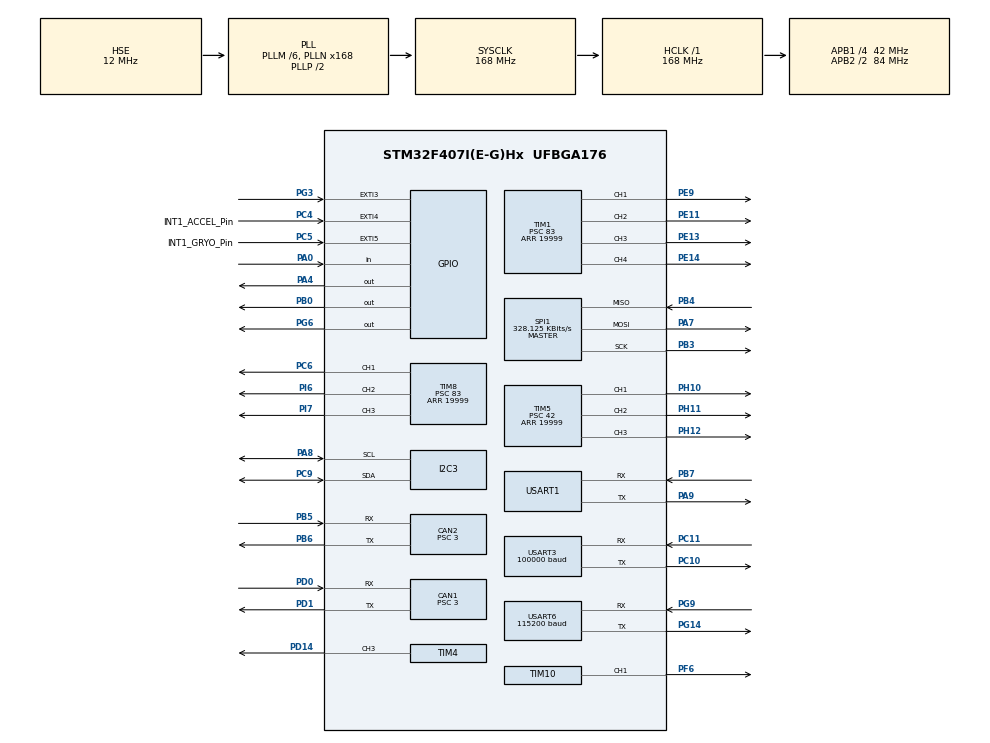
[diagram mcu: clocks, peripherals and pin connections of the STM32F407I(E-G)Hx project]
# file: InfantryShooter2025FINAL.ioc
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CAN1.BS1=CAN_BS1_10TQ
CAN1.BS2=CAN_BS2_3TQ
CAN1.CalculateBaudRate=1000000
CAN1.CalculateTimeBit=1000
CAN1.CalculateTimeQuantum=71.42857142857143
CAN1.Prescaler=3
CAN2.BS1=CAN_BS1_10TQ
CAN2.BS2=CAN_BS2_3TQ
CAN2.CalculateBaudRate=1000000
CAN2.CalculateTimeBit=1000
CAN2.CalculateTimeQuantum=71.42857142857143
CAN2.Prescaler=3
Dma.Request0=USART3_RX
Dma.Request1=USART1_RX
Dma.Request2=USART6_RX
Dma.USART1_RX.1.Direction=DMA_PERIPH_TO_MEMORY
Dma.USART1_RX.1.FIFOMode=DMA_FIFOMODE_DISABLE
Dma.USART1_RX.1.Instance=DMA2_Stream2
Dma.USART1_RX.1.MemDataAlignment=DMA_MDATAALIGN_BYTE
Dma.USART1_RX.1.MemInc=DMA_MINC_ENABLE
Dma.USART1_RX.1.Mode=DMA_NORMAL
Dma.USART1_RX.1.PeriphDataAlignment=DMA_PDATAALIGN_BYTE
Dma.USART1_RX.1.PeriphInc=DMA_PINC_DISABLE
Dma.USART1_RX.1.Priority=DMA_PRIORITY_VERY_HIGH
Dma.USART3_RX.0.Direction=DMA_PERIPH_TO_MEMORY
Dma.USART3_RX.0.FIFOMode=DMA_FIFOMODE_DISABLE
Dma.USART3_RX.0.Instance=DMA1_Stream1
Dma.USART3_RX.0.MemDataAlignment=DMA_MDATAALIGN_BYTE
Dma.USART3_RX.0.MemInc=DMA_MINC_ENABLE
Dma.USART3_RX.0.Mode=DMA_CIRCULAR
Dma.USART3_RX.0.PeriphDataAlignment=DMA_PDATAALIGN_BYTE
Dma.USART3_RX.0.PeriphInc=DMA_PINC_DISABLE
Dma.USART3_RX.0.Priority=DMA_PRIORITY_VERY_HIGH
Dma.USART6_RX.2.Direction=DMA_PERIPH_TO_MEMORY
Dma.USART6_RX.2.FIFOMode=DMA_FIFOMODE_DISABLE
Dma.USART6_RX.2.Instance=DMA2_Stream1
Dma.USART6_RX.2.MemDataAlignment=DMA_MDATAALIGN_BYTE
Dma.USART6_RX.2.MemInc=DMA_MINC_ENABLE
Dma.USART6_RX.2.Mode=DMA_NORMAL
Dma.USART6_RX.2.PeriphDataAlignment=DMA_PDATAALIGN_BYTE
Dma.USART6_RX.2.PeriphInc=DMA_PINC_DISABLE
Dma.USART6_RX.2.Priority=DMA_PRIORITY_VERY_HIGH
FREERTOS.INCLUDE_pcTaskGetTaskName=1
FREERTOS.INCLUDE_xTaskGetHandle=1
FREERTOS.Tasks01=FlowManager,47,1024,StartFlowManager,Default,NULL,Dynamic,NULL,NULL;IMUtempPIDtask,24,512,imu_temp_control_task,As weak,NULL,Dynamic,NULL,NULL;ChassisTask,24,1024,StartChassisTask,Default,NULL,Dynamic,NULL,NULL;SentryAutonomy,24,128,StartSentryAutonomy,Default,NULL,Dynamic,NULL,NULL
FREERTOS.configUSE_NEWLIB_REENTRANT=1
I2C3.I2C_Mode=I2C_Fast
Mcu.Family=STM32F4
Mcu.Name=STM32F407I(E-G)Hx
Mcu.Package=UFBGA176
NVIC.CAN1_RX0_IRQn=true\:5\:0\:false\:false\:true\:true\:true\:true\:true
NVIC.CAN2_RX0_IRQn=true\:5\:0\:false\:false\:true\:true\:true\:true\:true
NVIC.DMA1_Stream1_IRQn=true\:5\:0\:false\:false\:true\:true\:false\:true\:true
NVIC.DMA2_Stream1_IRQn=true\:5\:0\:false\:false\:true\:true\:false\:true\:true
NVIC.DMA2_Stream2_IRQn=true\:5\:0\:false\:false\:true\:true\:false\:true\:true
NVIC.EXTI3_IRQn=true\:5\:0\:false\:false\:true\:true\:true\:true\:true
NVIC.EXTI4_IRQn=true\:5\:0\:false\:false\:true\:true\:true\:true\:true
NVIC.PriorityGroup=NVIC_PRIORITYGROUP_4
NVIC.USART1_IRQn=true\:5\:0\:false\:false\:true\:true\:true\:true\:true
NVIC.USART6_IRQn=true\:5\:0\:false\:false\:true\:true\:true\:true\:true
PA0-WKUP.Signal=GPIO_Input
PA13.Mode=Serial_Wire
PA13.Signal=SYS_JTMS-SWDIO
PA14.Mode=Serial_Wire
PA14.Signal=SYS_JTCK-SWCLK
PA4.Signal=GPIO_Output
PA7.Mode=Full_Duplex_Master
PA7.Signal=SPI1_MOSI
PA8.Mode=I2C
PA8.Signal=I2C3_SCL
PA9.Mode=Asynchronous
PA9.Signal=USART1_TX
PB0.Signal=GPIO_Output
PB3.Mode=Full_Duplex_Master
PB3.Signal=SPI1_SCK
PB4.Mode=Full_Duplex_Master
PB4.Signal=SPI1_MISO
PB5.Mode=CAN_Activate
PB5.Signal=CAN2_RX
PB6.Mode=CAN_Activate
PB6.Signal=CAN2_TX
PB7.Mode=Asynchronous
PB7.Signal=USART1_RX
PC10.Mode=Asynchronous
PC10.Signal=USART3_TX
PC11.Mode=Asynchronous
PC11.Signal=USART3_RX
PC4.GPIO_Label=INT1_ACCEL_Pin
PC4.Signal=GPXTI4
PC5.GPIO_Label=INT1_GRYO_Pin
PC5.Signal=GPXTI5
PC6.Signal=S_TIM8_CH1
PC9.Mode=I2C
PC9.Signal=I2C3_SDA
PD0.Mode=CAN_Activate
PD0.Signal=CAN1_RX
PD1.Mode=CAN_Activate
PD1.Signal=CAN1_TX
PD14.Signal=S_TIM4_CH3
PE11.Signal=S_TIM1_CH2
PE13.Signal=S_TIM1_CH3
PE14.Signal=S_TIM1_CH4
PE9.Signal=S_TIM1_CH1
PF6.GPIO_PuPd=GPIO_PULLUP
PF6.GPIO_Speed=GPIO_SPEED_FREQ_HIGH
PF6.Signal=S_TIM10_CH1
PG14.Mode=Asynchronous
PG14.Signal=USART6_TX
PG3.Signal=GPXTI3
PG6.Signal=GPIO_Output
PG9.Mode=Asynchronous
PG9.Signal=USART6_RX
PH0-OSC_IN.Mode=HSE-External-Oscillator
PH0-OSC_IN.Signal=RCC_OSC_IN
PH1-OSC_OUT.Mode=HSE-External-Oscillator
PH1-OSC_OUT.Signal=RCC_OSC_OUT
PH10.Signal=S_TIM5_CH1
PH11.Signal=S_TIM5_CH2
PH12.Signal=S_TIM5_CH3
PI6.Signal=S_TIM8_CH2
PI7.Signal=S_TIM8_CH3
ProjectManager.HeapSize=0x200
ProjectManager.StackSize=0x400
ProjectManager.TargetToolchain=STM32CubeIDE
RCC.48MHZClocksFreq_Value=84000000
RCC.AHBFreq_Value=168000000
RCC.APB1CLKDivider=RCC_HCLK_DIV4
RCC.APB1Freq_Value=42000000
RCC.APB1TimFreq_Value=84000000
RCC.APB2CLKDivider=RCC_HCLK_DIV2
RCC.APB2Freq_Value=84000000
RCC.APB2TimFreq_Value=168000000
RCC.CortexFreq_Value=168000000
RCC.EnbaleCSS=true
RCC.HCLKFreq_Value=168000000
RCC.HSE_VALUE=12000000
RCC.HSI_VALUE=16000000
RCC.LSE_VALUE=32768
RCC.PLLM=6
RCC.PLLN=168
RCC.PLLSourceVirtual=RCC_PLLSOURCE_HSE
RCC.SYSCLKFreq_VALUE=168000000
RCC.SYSCLKSource=RCC_SYSCLKSOURCE_PLLCLK
RCC.VCOOutputFreq_Value=336000000
SH.S_TIM10_CH1.0=TIM10_CH1,PWM Generation1 CH1
SH.S_TIM1_CH1.0=TIM1_CH1,PWM Generation1 CH1
SH.S_TIM1_CH2.0=TIM1_CH2,PWM Generation2 CH2
SH.S_TIM1_CH3.0=TIM1_CH3,PWM Generation3 CH3
SH.S_TIM1_CH4.0=TIM1_CH4,PWM Generation4 CH4
SH.S_TIM4_CH3.0=TIM4_CH3,PWM Generation3 CH3
SH.S_TIM5_CH1.0=TIM5_CH1,PWM Generation1 CH1
SH.S_TIM5_CH2.0=TIM5_CH2,PWM Generation2 CH2
SH.S_TIM5_CH3.0=TIM5_CH3,PWM Generation3 CH3
SH.S_TIM8_CH1.0=TIM8_CH1,PWM Generation1 CH1
SH.S_TIM8_CH2.0=TIM8_CH2,PWM Generation2 CH2
SH.S_TIM8_CH3.0=TIM8_CH3,PWM Generation3 CH3
SPI1.BaudRatePrescaler=SPI_BAUDRATEPRESCALER_256
SPI1.CLKPhase=SPI_PHASE_2EDGE
SPI1.CLKPolarity=SPI_POLARITY_HIGH
SPI1.CalculateBaudRate=328.125 KBits/s
SPI1.Direction=SPI_DIRECTION_2LINES
SPI1.Mode=SPI_MODE_MASTER
SPI1.VirtualType=VM_MASTER
TIM1.AutoReloadPreload=TIM_AUTORELOAD_PRELOAD_DISABLE
TIM1.Channel-PWM\ Generation1\ CH1=TIM_CHANNEL_1
TIM1.Channel-PWM\ Generation2\ CH2=TIM_CHANNEL_2
TIM1.Channel-PWM\ Generation3\ CH3=TIM_CHANNEL_3
TIM1.Channel-PWM\ Generation4\ CH4=TIM_CHANNEL_4
TIM1.Period=19999
TIM1.Prescaler=83
TIM1.Pulse-PWM\ Generation1\ CH1=0
TIM10.Channel=TIM_CHANNEL_1
TIM10.Period=4999
TIM4.AutoReloadPreload=TIM_AUTORELOAD_PRELOAD_ENABLE
TIM4.Channel-PWM\ Generation3\ CH3=TIM_CHANNEL_3
TIM4.Period=20999
TIM4.Pulse-PWM\ Generation3\ CH3=10499
TIM5.Channel-PWM\ Generation1\ CH1=TIM_CHANNEL_1
TIM5.Channel-PWM\ Generation2\ CH2=TIM_CHANNEL_2
TIM5.Channel-PWM\ Generation3\ CH3=TIM_CHANNEL_3
TIM5.Period=19999
TIM5.Prescaler=42
TIM8.AutoReloadPreload=TIM_AUTORELOAD_PRELOAD_ENABLE
TIM8.Channel-PWM\ Generation1\ CH1=TIM_CHANNEL_1
TIM8.Channel-PWM\ Generation2\ CH2=TIM_CHANNEL_2
TIM8.Channel-PWM\ Generation3\ CH3=TIM_CHANNEL_3
TIM8.Period=19999
TIM8.Prescaler=83
USART1.VirtualMode=VM_ASYNC
USART3.BaudRate=100000
USART3.Parity=PARITY_EVEN
USART3.VirtualMode=VM_ASYNC
USART6.BaudRate=115200
USART6.VirtualMode=VM_ASYNC
VP_FREERTOS_VS_CMSIS_V2.Mode=CMSIS_V2
VP_TIM10_VS_ClockSourceINT.Mode=Enable_Timer
VP_TIM4_VS_ClockSourceINT.Mode=Internal
board=custom

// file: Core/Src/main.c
/* USER CODE BEGIN Header */
/**
  ******************************************************************************
  * @file           : main.c
  * @brief          : Main program body
  ******************************************************************************
  * @attention
  *
  * Copyright (c) 2025 STMicroelectronics.
  * All rights reserved.
  *
  * This software is licensed under terms that can be found in the LICENSE file
  * in the root directory of this software component.
  * If no LICENSE file comes with this software, it is provided AS-IS.
  *
  ******************************************************************************
  */
/* USER CODE END Header */
#include "main.h"
#include "cmsis_os.h"

/* USER CODE BEGIN Includes */
#include "UART_RM25.h"
#include "DBUS.h"
// #include "CC_Handler.h"
#include "CAN.h"
#include "CAL_RM25.h"
#include "custom_math.h"

#include "BMI088driver.h"
#include "BMI088Middleware.h"
#include "BMI088reg.h"
/* USER CODE END Includes */

CAN_HandleTypeDef hcan1;
CAN_HandleTypeDef hcan2;

I2C_HandleTypeDef hi2c3;

SPI_HandleTypeDef hspi1;

TIM_HandleTypeDef htim1;
TIM_HandleTypeDef htim4;
TIM_HandleTypeDef htim5;
TIM_HandleTypeDef htim8;
TIM_HandleTypeDef htim10;

UART_HandleTypeDef huart1;
UART_HandleTypeDef huart3;
UART_HandleTypeDef huart6;
DMA_HandleTypeDef hdma_usart1_rx;
DMA_HandleTypeDef hdma_usart3_rx;
DMA_HandleTypeDef hdma_usart6_rx;

/* Definitions for FlowManager */
osThreadId_t FlowManagerHandle;
const osThreadAttr_t FlowManager_attributes = {
  .name = "FlowManager",
  .stack_size = 1024 * 4,
  .priority = (osPriority_t) osPriorityHigh7,
};
/* Definitions for IMUtempPIDtask */
osThreadId_t IMUtempPIDtaskHandle;
const osThreadAttr_t IMUtempPIDtask_attributes = {
  .name = "IMUtempPIDtask",
  .stack_size = 512 * 4,
  .priority = (osPriority_t) osPriorityNormal,
};
/* Definitions for ChassisTask */
osThreadId_t ChassisTaskHandle;
const osThreadAttr_t ChassisTask_attributes = {
  .name = "ChassisTask",
  .stack_size = 1024 * 4,
  .priority = (osPriority_t) osPriorityNormal,
};
/* Definitions for SentryAutonomy */
osThreadId_t SentryAutonomyHandle;
const osThreadAttr_t SentryAutonomy_attributes = {
  .name = "SentryAutonomy",
  .stack_size = 128 * 4,
  .priority = (osPriority_t) osPriorityNormal,
};

void SystemClock_Config(void);
static void MX_GPIO_Init(void);
static void MX_DMA_Init(void);
static void MX_CAN1_Init(void);
static void MX_CAN2_Init(void);
static void MX_SPI1_Init(void);
static void MX_TIM4_Init(void);
static void MX_USART1_UART_Init(void);
static void MX_USART6_UART_Init(void);
static void MX_TIM1_Init(void);
static void MX_TIM8_Init(void);
static void MX_USART3_UART_Init(void);
static void MX_TIM10_Init(void);
static void MX_I2C3_Init(void);
static void MX_TIM5_Init(void);
void StartFlowManager(void *argument);
void imu_temp_control_task(void *argument);
void StartChassisTask(void *argument);
void StartSentryAutonomy(void *argument);

int main(void)
{

  /* MCU Configuration--------------------------------------------------------*/

  /* Reset of all peripherals, Initializes the Flash interface and the Systick. */
  HAL_Init();

  /* Configure the system clock */
  SystemClock_Config();

  /* Initialize all configured peripherals */
  MX_GPIO_Init();
  MX_DMA_Init();
  MX_CAN1_Init();
  MX_CAN2_Init();
  MX_SPI1_Init();
  MX_TIM4_Init();
  MX_USART1_UART_Init();
  MX_USART6_UART_Init();
  MX_TIM1_Init();
  MX_TIM8_Init();
  MX_USART3_UART_Init();
  MX_TIM10_Init();
  MX_I2C3_Init();
  MX_TIM5_Init();

  /* Init scheduler */
  osKernelInitialize();

  /* Create the thread(s) */
  /* creation of FlowManager */
  FlowManagerHandle = osThreadNew(StartFlowManager, NULL, &FlowManager_attributes);

  /* creation of IMUtempPIDtask */
  IMUtempPIDtaskHandle = osThreadNew(imu_temp_control_task, NULL, &IMUtempPIDtask_attributes);

  /* creation of ChassisTask */
  ChassisTaskHandle = osThreadNew(StartChassisTask, NULL, &ChassisTask_attributes);

  /* creation of SentryAutonomy */
  SentryAutonomyHandle = osThreadNew(StartSentryAutonomy, NULL, &SentryAutonomy_attributes);

  /* Start scheduler */
  osKernelStart();

  /* We should never get here as control is now taken by the scheduler */

  /* Infinite loop */
  while (1)
  {

  }
}

void SystemClock_Config(void)
{
  RCC_OscInitTypeDef RCC_OscInitStruct = {0};
  RCC_ClkInitTypeDef RCC_ClkInitStruct = {0};

  /** Configure the main internal regulator output voltage
  */
  __HAL_RCC_PWR_CLK_ENABLE();
  __HAL_PWR_VOLTAGESCALING_CONFIG(PWR_REGULATOR_VOLTAGE_SCALE1);

  /** Initializes the RCC Oscillators according to the specified parameters
  * in the RCC_OscInitTypeDef structure.
  */
  RCC_OscInitStruct.OscillatorType = RCC_OSCILLATORTYPE_HSE;
  RCC_OscInitStruct.HSEState = RCC_HSE_ON;
  RCC_OscInitStruct.PLL.PLLState = RCC_PLL_ON;
  RCC_OscInitStruct.PLL.PLLSource = RCC_PLLSOURCE_HSE;
  RCC_OscInitStruct.PLL.PLLM = 6;
  RCC_OscInitStruct.PLL.PLLN = 168;
  RCC_OscInitStruct.PLL.PLLP = RCC_PLLP_DIV2;
  RCC_OscInitStruct.PLL.PLLQ = 4;
  if (HAL_RCC_OscConfig(&RCC_OscInitStruct) != HAL_OK)
  {
    Error_Handler();
  }

  /** Initializes the CPU, AHB and APB buses clocks
  */
  RCC_ClkInitStruct.ClockType = RCC_CLOCKTYPE_HCLK|RCC_CLOCKTYPE_SYSCLK
                              |RCC_CLOCKTYPE_PCLK1|RCC_CLOCKTYPE_PCLK2;
  RCC_ClkInitStruct.SYSCLKSource = RCC_SYSCLKSOURCE_PLLCLK;
  RCC_ClkInitStruct.AHBCLKDivider = RCC_SYSCLK_DIV1;
  RCC_ClkInitStruct.APB1CLKDivider = RCC_HCLK_DIV4;
  RCC_ClkInitStruct.APB2CLKDivider = RCC_HCLK_DIV2;

  if (HAL_RCC_ClockConfig(&RCC_ClkInitStruct, FLASH_LATENCY_5) != HAL_OK)
  {
    Error_Handler();
  }

  /** Enables the Clock Security System
  */
  HAL_RCC_EnableCSS();
}

static void MX_CAN1_Init(void)
{

  hcan1.Instance = CAN1;
  hcan1.Init.Prescaler = 3;
  hcan1.Init.Mode = CAN_MODE_NORMAL;
  hcan1.Init.SyncJumpWidth = CAN_SJW_1TQ;
  hcan1.Init.TimeSeg1 = CAN_BS1_10TQ;
  hcan1.Init.TimeSeg2 = CAN_BS2_3TQ;
  hcan1.Init.TimeTriggeredMode = DISABLE;
  hcan1.Init.AutoBusOff = DISABLE;
  hcan1.Init.AutoWakeUp = DISABLE;
  hcan1.Init.AutoRetransmission = DISABLE;
  hcan1.Init.ReceiveFifoLocked = DISABLE;
  hcan1.Init.TransmitFifoPriority = DISABLE;
  if (HAL_CAN_Init(&hcan1) != HAL_OK)
  {
    Error_Handler();
  }

}

static void MX_CAN2_Init(void)
{

  hcan2.Instance = CAN2;
  hcan2.Init.Prescaler = 3;
  hcan2.Init.Mode = CAN_MODE_NORMAL;
  hcan2.Init.SyncJumpWidth = CAN_SJW_1TQ;
  hcan2.Init.TimeSeg1 = CAN_BS1_10TQ;
  hcan2.Init.TimeSeg2 = CAN_BS2_3TQ;
  hcan2.Init.TimeTriggeredMode = DISABLE;
  hcan2.Init.AutoBusOff = DISABLE;
  hcan2.Init.AutoWakeUp = DISABLE;
  hcan2.Init.AutoRetransmission = DISABLE;
  hcan2.Init.ReceiveFifoLocked = DISABLE;
  hcan2.Init.TransmitFifoPriority = DISABLE;
  if (HAL_CAN_Init(&hcan2) != HAL_OK)
  {
    Error_Handler();
  }

}

static void MX_I2C3_Init(void)
{

  hi2c3.Instance = I2C3;
  hi2c3.Init.ClockSpeed = 400000;
  hi2c3.Init.DutyCycle = I2C_DUTYCYCLE_2;
  hi2c3.Init.OwnAddress1 = 0;
  hi2c3.Init.AddressingMode = I2C_ADDRESSINGMODE_7BIT;
  hi2c3.Init.DualAddressMode = I2C_DUALADDRESS_DISABLE;
  hi2c3.Init.OwnAddress2 = 0;
  hi2c3.Init.GeneralCallMode = I2C_GENERALCALL_DISABLE;
  hi2c3.Init.NoStretchMode = I2C_NOSTRETCH_DISABLE;
  if (HAL_I2C_Init(&hi2c3) != HAL_OK)
  {
    Error_Handler();
  }

}

static void MX_SPI1_Init(void)
{

  /* SPI1 parameter configuration*/
  hspi1.Instance = SPI1;
  hspi1.Init.Mode = SPI_MODE_MASTER;
  hspi1.Init.Direction = SPI_DIRECTION_2LINES;
  hspi1.Init.DataSize = SPI_DATASIZE_8BIT;
  hspi1.Init.CLKPolarity = SPI_POLARITY_HIGH;
  hspi1.Init.CLKPhase = SPI_PHASE_2EDGE;
  hspi1.Init.NSS = SPI_NSS_SOFT;
  hspi1.Init.BaudRatePrescaler = SPI_BAUDRATEPRESCALER_256;
  hspi1.Init.FirstBit = SPI_FIRSTBIT_MSB;
  hspi1.Init.TIMode = SPI_TIMODE_DISABLE;
  hspi1.Init.CRCCalculation = SPI_CRCCALCULATION_DISABLE;
  hspi1.Init.CRCPolynomial = 10;
  if (HAL_SPI_Init(&hspi1) != HAL_OK)
  {
    Error_Handler();
  }

}

static void MX_TIM1_Init(void)
{

  TIM_MasterConfigTypeDef sMasterConfig = {0};
  TIM_OC_InitTypeDef sConfigOC = {0};
  TIM_BreakDeadTimeConfigTypeDef sBreakDeadTimeConfig = {0};

  htim1.Instance = TIM1;
  htim1.Init.Prescaler = 83;
  htim1.Init.CounterMode = TIM_COUNTERMODE_UP;
  htim1.Init.Period = 19999;
  htim1.Init.ClockDivision = TIM_CLOCKDIVISION_DIV1;
  htim1.Init.RepetitionCounter = 0;
  htim1.Init.AutoReloadPreload = TIM_AUTORELOAD_PRELOAD_DISABLE;
  if (HAL_TIM_PWM_Init(&htim1) != HAL_OK)
  {
    Error_Handler();
  }
  sMasterConfig.MasterOutputTrigger = TIM_TRGO_RESET;
  sMasterConfig.MasterSlaveMode = TIM_MASTERSLAVEMODE_DISABLE;
  if (HAL_TIMEx_MasterConfigSynchronization(&htim1, &sMasterConfig) != HAL_OK)
  {
    Error_Handler();
  }
  sConfigOC.OCMode = TIM_OCMODE_PWM1;
  sConfigOC.Pulse = 0;
  sConfigOC.OCPolarity = TIM_OCPOLARITY_HIGH;
  sConfigOC.OCNPolarity = TIM_OCNPOLARITY_HIGH;
  sConfigOC.OCFastMode = TIM_OCFAST_DISABLE;
  sConfigOC.OCIdleState = TIM_OCIDLESTATE_RESET;
  sConfigOC.OCNIdleState = TIM_OCNIDLESTATE_RESET;
  if (HAL_TIM_PWM_ConfigChannel(&htim1, &sConfigOC, TIM_CHANNEL_1) != HAL_OK)
  {
    Error_Handler();
  }
  if (HAL_TIM_PWM_ConfigChannel(&htim1, &sConfigOC, TIM_CHANNEL_2) != HAL_OK)
  {
    Error_Handler();
  }
  if (HAL_TIM_PWM_ConfigChannel(&htim1, &sConfigOC, TIM_CHANNEL_3) != HAL_OK)
  {
    Error_Handler();
  }
  if (HAL_TIM_PWM_ConfigChannel(&htim1, &sConfigOC, TIM_CHANNEL_4) != HAL_OK)
  {
    Error_Handler();
  }
  sBreakDeadTimeConfig.OffStateRunMode = TIM_OSSR_DISABLE;
  sBreakDeadTimeConfig.OffStateIDLEMode = TIM_OSSI_DISABLE;
  sBreakDeadTimeConfig.LockLevel = TIM_LOCKLEVEL_OFF;
  sBreakDeadTimeConfig.DeadTime = 0;
  sBreakDeadTimeConfig.BreakState = TIM_BREAK_DISABLE;
  sBreakDeadTimeConfig.BreakPolarity = TIM_BREAKPOLARITY_HIGH;
  sBreakDeadTimeConfig.AutomaticOutput = TIM_AUTOMATICOUTPUT_DISABLE;
  if (HAL_TIMEx_ConfigBreakDeadTime(&htim1, &sBreakDeadTimeConfig) != HAL_OK)
  {
    Error_Handler();
  }
  HAL_TIM_MspPostInit(&htim1);

}

static void MX_TIM4_Init(void)
{

  TIM_ClockConfigTypeDef sClockSourceConfig = {0};
  TIM_MasterConfigTypeDef sMasterConfig = {0};
  TIM_OC_InitTypeDef sConfigOC = {0};

  htim4.Instance = TIM4;
  htim4.Init.Prescaler = 0;
  htim4.Init.CounterMode = TIM_COUNTERMODE_UP;
  htim4.Init.Period = 20999;
  htim4.Init.ClockDivision = TIM_CLOCKDIVISION_DIV1;
  htim4.Init.AutoReloadPreload = TIM_AUTORELOAD_PRELOAD_ENABLE;
  if (HAL_TIM_Base_Init(&htim4) != HAL_OK)
  {
    Error_Handler();
  }
  sClockSourceConfig.ClockSource = TIM_CLOCKSOURCE_INTERNAL;
  if (HAL_TIM_ConfigClockSource(&htim4, &sClockSourceConfig) != HAL_OK)
  {
    Error_Handler();
  }
  if (HAL_TIM_PWM_Init(&htim4) != HAL_OK)
  {
    Error_Handler();
  }
  sMasterConfig.MasterOutputTrigger = TIM_TRGO_RESET;
  sMasterConfig.MasterSlaveMode = TIM_MASTERSLAVEMODE_DISABLE;
  if (HAL_TIMEx_MasterConfigSynchronization(&htim4, &sMasterConfig) != HAL_OK)
  {
    Error_Handler();
  }
  sConfigOC.OCMode = TIM_OCMODE_PWM1;
  sConfigOC.Pulse = 10499;
  sConfigOC.OCPolarity = TIM_OCPOLARITY_HIGH;
  sConfigOC.OCFastMode = TIM_OCFAST_DISABLE;
  if (HAL_TIM_PWM_ConfigChannel(&htim4, &sConfigOC, TIM_CHANNEL_3) != HAL_OK)
  {
    Error_Handler();
  }
  HAL_TIM_MspPostInit(&htim4);

}

static void MX_TIM5_Init(void)
{

  TIM_MasterConfigTypeDef sMasterConfig = {0};
  TIM_OC_InitTypeDef sConfigOC = {0};

  htim5.Instance = TIM5;
  htim5.Init.Prescaler = 42;
  htim5.Init.CounterMode = TIM_COUNTERMODE_UP;
  htim5.Init.Period = 19999;
  htim5.Init.ClockDivision = TIM_CLOCKDIVISION_DIV1;
  htim5.Init.AutoReloadPreload = TIM_AUTORELOAD_PRELOAD_DISABLE;
  if (HAL_TIM_PWM_Init(&htim5) != HAL_OK)
  {
    Error_Handler();
  }
  sMasterConfig.MasterOutputTrigger = TIM_TRGO_RESET;
  sMasterConfig.MasterSlaveMode = TIM_MASTERSLAVEMODE_DISABLE;
  if (HAL_TIMEx_MasterConfigSynchronization(&htim5, &sMasterConfig) != HAL_OK)
  {
    Error_Handler();
  }
  sConfigOC.OCMode = TIM_OCMODE_PWM1;
  sConfigOC.Pulse = 0;
  sConfigOC.OCPolarity = TIM_OCPOLARITY_HIGH;
  sConfigOC.OCFastMode = TIM_OCFAST_DISABLE;
  if (HAL_TIM_PWM_ConfigChannel(&htim5, &sConfigOC, TIM_CHANNEL_1) != HAL_OK)
  {
    Error_Handler();
  }
  if (HAL_TIM_PWM_ConfigChannel(&htim5, &sConfigOC, TIM_CHANNEL_2) != HAL_OK)
  {
    Error_Handler();
  }
  if (HAL_TIM_PWM_ConfigChannel(&htim5, &sConfigOC, TIM_CHANNEL_3) != HAL_OK)
  {
    Error_Handler();
  }
  HAL_TIM_MspPostInit(&htim5);

}

static void MX_TIM8_Init(void)
{

  TIM_MasterConfigTypeDef sMasterConfig = {0};
  TIM_OC_InitTypeDef sConfigOC = {0};
  TIM_BreakDeadTimeConfigTypeDef sBreakDeadTimeConfig = {0};

  htim8.Instance = TIM8;
  htim8.Init.Prescaler = 83;
  htim8.Init.CounterMode = TIM_COUNTERMODE_UP;
  htim8.Init.Period = 19999;
  htim8.Init.ClockDivision = TIM_CLOCKDIVISION_DIV1;
  htim8.Init.RepetitionCounter = 0;
  htim8.Init.AutoReloadPreload = TIM_AUTORELOAD_PRELOAD_ENABLE;
  if (HAL_TIM_PWM_Init(&htim8) != HAL_OK)
  {
    Error_Handler();
  }
  sMasterConfig.MasterOutputTrigger = TIM_TRGO_RESET;
  sMasterConfig.MasterSlaveMode = TIM_MASTERSLAVEMODE_DISABLE;
  if (HAL_TIMEx_MasterConfigSynchronization(&htim8, &sMasterConfig) != HAL_OK)
  {
    Error_Handler();
  }
  sConfigOC.OCMode = TIM_OCMODE_PWM1;
  sConfigOC.Pulse = 0;
  sConfigOC.OCPolarity = TIM_OCPOLARITY_HIGH;
  sConfigOC.OCNPolarity = TIM_OCNPOLARITY_HIGH;
  sConfigOC.OCFastMode = TIM_OCFAST_DISABLE;
  sConfigOC.OCIdleState = TIM_OCIDLESTATE_RESET;
  sConfigOC.OCNIdleState = TIM_OCNIDLESTATE_RESET;
  if (HAL_TIM_PWM_ConfigChannel(&htim8, &sConfigOC, TIM_CHANNEL_1) != HAL_OK)
  {
    Error_Handler();
  }
  if (HAL_TIM_PWM_ConfigChannel(&htim8, &sConfigOC, TIM_CHANNEL_2) != HAL_OK)
  {
    Error_Handler();
  }
  if (HAL_TIM_PWM_ConfigChannel(&htim8, &sConfigOC, TIM_CHANNEL_3) != HAL_OK)
  {
    Error_Handler();
  }
  sBreakDeadTimeConfig.OffStateRunMode = TIM_OSSR_DISABLE;
  sBreakDeadTimeConfig.OffStateIDLEMode = TIM_OSSI_DISABLE;
  sBreakDeadTimeConfig.LockLevel = TIM_LOCKLEVEL_OFF;
  sBreakDeadTimeConfig.DeadTime = 0;
  sBreakDeadTimeConfig.BreakState = TIM_BREAK_DISABLE;
  sBreakDeadTimeConfig.BreakPolarity = TIM_BREAKPOLARITY_HIGH;
  sBreakDeadTimeConfig.AutomaticOutput = TIM_AUTOMATICOUTPUT_DISABLE;
  if (HAL_TIMEx_ConfigBreakDeadTime(&htim8, &sBreakDeadTimeConfig) != HAL_OK)
  {
    Error_Handler();
  }
  HAL_TIM_MspPostInit(&htim8);

}

static void MX_TIM10_Init(void)
{

  TIM_OC_InitTypeDef sConfigOC = {0};

  htim10.Instance = TIM10;
  htim10.Init.Prescaler = 0;
  htim10.Init.CounterMode = TIM_COUNTERMODE_UP;
  htim10.Init.Period = 4999;
  htim10.Init.ClockDivision = TIM_CLOCKDIVISION_DIV1;
  htim10.Init.AutoReloadPreload = TIM_AUTORELOAD_PRELOAD_DISABLE;
  if (HAL_TIM_Base_Init(&htim10) != HAL_OK)
  {
    Error_Handler();
  }
  if (HAL_TIM_PWM_Init(&htim10) != HAL_OK)
  {
    Error_Handler();
  }
  sConfigOC.OCMode = TIM_OCMODE_PWM1;
  sConfigOC.Pulse = 0;
  sConfigOC.OCPolarity = TIM_OCPOLARITY_HIGH;
  sConfigOC.OCFastMode = TIM_OCFAST_DISABLE;
  if (HAL_TIM_PWM_ConfigChannel(&htim10, &sConfigOC, TIM_CHANNEL_1) != HAL_OK)
  {
    Error_Handler();
  }
  HAL_TIM_MspPostInit(&htim10);

}

static void MX_USART1_UART_Init(void)
{

  huart1.Instance = USART1;
  huart1.Init.BaudRate = 115200;
  huart1.Init.WordLength = UART_WORDLENGTH_8B;
  huart1.Init.StopBits = UART_STOPBITS_1;
  huart1.Init.Parity = UART_PARITY_NONE;
  huart1.Init.Mode = UART_MODE_TX_RX;
  huart1.Init.HwFlowCtl = UART_HWCONTROL_NONE;
  huart1.Init.OverSampling = UART_OVERSAMPLING_16;
  if (HAL_UART_Init(&huart1) != HAL_OK)
  {
    Error_Handler();
  }

}

static void MX_USART3_UART_Init(void)
{

  huart3.Instance = USART3;
  huart3.Init.BaudRate = 100000;
  huart3.Init.WordLength = UART_WORDLENGTH_8B;
  huart3.Init.StopBits = UART_STOPBITS_1;
  huart3.Init.Parity = UART_PARITY_EVEN;
  huart3.Init.Mode = UART_MODE_TX_RX;
  huart3.Init.HwFlowCtl = UART_HWCONTROL_NONE;
  huart3.Init.OverSampling = UART_OVERSAMPLING_16;
  if (HAL_UART_Init(&huart3) != HAL_OK)
  {
    Error_Handler();
  }

}

static void MX_USART6_UART_Init(void)
{

  huart6.Instance = USART6;
  huart6.Init.BaudRate = 115200;
  huart6.Init.WordLength = UART_WORDLENGTH_8B;
  huart6.Init.StopBits = UART_STOPBITS_1;
  huart6.Init.Parity = UART_PARITY_NONE;
  huart6.Init.Mode = UART_MODE_TX_RX;
  huart6.Init.HwFlowCtl = UART_HWCONTROL_NONE;
  huart6.Init.OverSampling = UART_OVERSAMPLING_16;
  if (HAL_UART_Init(&huart6) != HAL_OK)
  {
    Error_Handler();
  }

}

static void MX_DMA_Init(void)
{

  /* DMA controller clock enable */
  __HAL_RCC_DMA1_CLK_ENABLE();
  __HAL_RCC_DMA2_CLK_ENABLE();

  /* DMA interrupt init */
  /* DMA1_Stream1_IRQn interrupt configuration */
  HAL_NVIC_SetPriority(DMA1_Stream1_IRQn, 5, 0);
  HAL_NVIC_EnableIRQ(DMA1_Stream1_IRQn);
  /* DMA2_Stream1_IRQn interrupt configuration */
  HAL_NVIC_SetPriority(DMA2_Stream1_IRQn, 5, 0);
  HAL_NVIC_EnableIRQ(DMA2_Stream1_IRQn);
  /* DMA2_Stream2_IRQn interrupt configuration */
  HAL_NVIC_SetPriority(DMA2_Stream2_IRQn, 5, 0);
  HAL_NVIC_EnableIRQ(DMA2_Stream2_IRQn);

}

static void MX_GPIO_Init(void)
{
  GPIO_InitTypeDef GPIO_InitStruct = {0};

  /* GPIO Ports Clock Enable */
  __HAL_RCC_GPIOB_CLK_ENABLE();
  __HAL_RCC_GPIOG_CLK_ENABLE();
  __HAL_RCC_GPIOA_CLK_ENABLE();
  __HAL_RCC_GPIOD_CLK_ENABLE();
  __HAL_RCC_GPIOC_CLK_ENABLE();
  __HAL_RCC_GPIOI_CLK_ENABLE();
  __HAL_RCC_GPIOH_CLK_ENABLE();
  __HAL_RCC_GPIOF_CLK_ENABLE();
  __HAL_RCC_GPIOE_CLK_ENABLE();

  /*Configure GPIO pin Output Level */
  HAL_GPIO_WritePin(GPIOG, GPIO_PIN_6, GPIO_PIN_RESET);

  /*Configure GPIO pin Output Level */
  HAL_GPIO_WritePin(GPIOA, GPIO_PIN_4, GPIO_PIN_RESET);

  /*Configure GPIO pin Output Level */
  HAL_GPIO_WritePin(GPIOB, GPIO_PIN_0, GPIO_PIN_RESET);

  /*Configure GPIO pin : PG6 */
  GPIO_InitStruct.Pin = GPIO_PIN_6;
  GPIO_InitStruct.Mode = GPIO_MODE_OUTPUT_PP;
  GPIO_InitStruct.Pull = GPIO_NOPULL;
  GPIO_InitStruct.Speed = GPIO_SPEED_FREQ_LOW;
  HAL_GPIO_Init(GPIOG, &GPIO_InitStruct);

  /*Configure GPIO pin : PG3 */
  GPIO_InitStruct.Pin = GPIO_PIN_3;
  GPIO_InitStruct.Mode = GPIO_MODE_IT_RISING;
  GPIO_InitStruct.Pull = GPIO_NOPULL;
  HAL_GPIO_Init(GPIOG, &GPIO_InitStruct);

  /*Configure GPIO pin : PA0 */
  GPIO_InitStruct.Pin = GPIO_PIN_0;
  GPIO_InitStruct.Mode = GPIO_MODE_INPUT;
  GPIO_InitStruct.Pull = GPIO_NOPULL;
  HAL_GPIO_Init(GPIOA, &GPIO_InitStruct);

  /*Configure GPIO pin : PA4 */
  GPIO_InitStruct.Pin = GPIO_PIN_4;
  GPIO_InitStruct.Mode = GPIO_MODE_OUTPUT_PP;
  GPIO_InitStruct.Pull = GPIO_NOPULL;
  GPIO_InitStruct.Speed = GPIO_SPEED_FREQ_LOW;
  HAL_GPIO_Init(GPIOA, &GPIO_InitStruct);

  /*Configure GPIO pins : INT1_ACCEL_Pin_Pin INT1_GRYO_Pin_Pin */
  GPIO_InitStruct.Pin = INT1_ACCEL_Pin_Pin|INT1_GRYO_Pin_Pin;
  GPIO_InitStruct.Mode = GPIO_MODE_IT_RISING;
  GPIO_InitStruct.Pull = GPIO_NOPULL;
  HAL_GPIO_Init(GPIOC, &GPIO_InitStruct);

  /*Configure GPIO pin : PB0 */
  GPIO_InitStruct.Pin = GPIO_PIN_0;
  GPIO_InitStruct.Mode = GPIO_MODE_OUTPUT_PP;
  GPIO_InitStruct.Pull = GPIO_NOPULL;
  GPIO_InitStruct.Speed = GPIO_SPEED_FREQ_LOW;
  HAL_GPIO_Init(GPIOB, &GPIO_InitStruct);

  /* EXTI interrupt init*/
  HAL_NVIC_SetPriority(EXTI3_IRQn, 5, 0);
  HAL_NVIC_EnableIRQ(EXTI3_IRQn);

  HAL_NVIC_SetPriority(EXTI4_IRQn, 5, 0);
  HAL_NVIC_EnableIRQ(EXTI4_IRQn);

}

void StartFlowManager(void *argument)
{
  /* USER CODE BEGIN 5 */
	uint8_t iCount = 0;

	DBUS_Rx_Init(&huart3);

	UART_Ex_Init(&huart1);
	UART_Ex_Init(&huart6);
	CAN_Init();
	BMI088_gyro_init();
	uint8_t txData[8] = {1, 2, 3, 4, 5, 6, 7, 8};
  /* Infinite loop */
  for(;;)
  {
	  DBUS_Update();
	  if(iCount%3==0){
		  CAL_Update();
	  }
	  // CAL_SendChassisCommands(CAL_getCH1(),CAL_getCH0(),CAL_getCH2(),getDR16_CH4(),IMU_get_gyro(2),1,2);
	  // CAN_transmit(Bus1,0x214,txData);
	  //UART_Printf(&huart6,"DBUS Check: %d %d \n", getDR16_W(),getCC_W());
	  //UART_Printfmt(&huart6,"%d \n",getDR16_CH1());

	  if(iCount<255){
		  iCount++;
	  }else{
		  iCount = 0;
	  }
	  osDelay(1);
  }
  /* USER CODE END 5 */
}

__weak void imu_temp_control_task(void *argument)
{
  for(;;)
  {
    osDelay(1);
  }
}

void StartChassisTask(void *argument)
{
  /* USER CODE BEGIN StartChassisTask */
	PID_preset_t pitchBoi = {20.0, 0.0, 150.0};
	PID_preset_t turretRotation = {110.0, 0.0, 15.0};
	PID_preset_t indexer = {30.0, 0.0, 0.0};
	PID_preset_t indexer2 = {8.0, 0.0, 0.0};
	PID_preset_t flywheels = {7.0, 0.0, 0.0};

	float incrementalToGoVal = 6700;
	uint16_t speed = 7500;

	uint8_t lastMouseZ = 0;
	const int16_t S2W_SCALER = 60;
	int16_t s2wSpeed = 0;
	int16_t chassisSpin = 0;

	float targetTurretAng = 0;
	float currentTurretAng = 0;

	uint8_t fondlerState = 0;
	uint8_t spinupCounter = 0;
	uint8_t rewindCounter = 0;
	uint8_t cooldownCounter = 0;
	//
	int8_t fondlerVars[5] = {0, 0, 0, 0, 0};
  /* Infinite loop */
  for(;;)
  {
	  CAL_SendChassisCommands(CAL_getCH1(),CAL_getCH0(),chassisSpin,(int16_t)((float)(getRotorPosition(Bus1, GM6020, 5))*0.5f),IMU_get_gyro(2),1,2);
	  // UART_Printf(&huart1, "%d\r\n", getRotorPosition(Bus2, GM6020, 7));

	  int16_t currentPos = CAL_getCH3()*3;

	  incrementalToGoVal -= ((float)(currentPos)*0.025);
	  if (incrementalToGoVal > 7200.0) {
		  incrementalToGoVal = 7200.0;
	  } else if (incrementalToGoVal < 5800.0) {
		  incrementalToGoVal = 5800.0;
	  }
	  // UART_Printf(&huart1, "%d %d\r\n", getRotorPosition(Bus2, GM6020, 7), incrementalToGoVal);
	  setMotorPosition(Bus2, GM6020, 7, (int16_t)incrementalToGoVal, pitchBoi);

	  /*
	  uint16_t togoVal = currentPos*0.8f + 5850;
	  setMotorPosition(Bus2, GM6020, 7, togoVal, pitchBoi);
	  */

	  uint8_t mouseZ = CAL_getMouseZ();
	  if(mouseZ==2&&lastMouseZ==0){
		  if(S2W_SCALER*s2wSpeed<300){
		  s2wSpeed++;
		  }
	  }else if(mouseZ==1&&lastMouseZ==0){
		  if(S2W_SCALER*s2wSpeed>-300)
		  s2wSpeed--;
	  }
	  lastMouseZ = mouseZ;

	  chassisSpin = S2W_SCALER*s2wSpeed-CAL_getCH4();
	  if(chassisSpin>460){
		  chassisSpin = 460;
	  }else if(chassisSpin<-460){
		  chassisSpin = -460;
	  }

	  float targetTurretAngVel = (float)CAL_getCH2()*0.006;

	  targetTurretAng -= targetTurretAngVel;
	  if(targetTurretAng<0){
		  targetTurretAng = 360.0-targetTurretAng;
	  }else if(targetTurretAng>360.0){
		  targetTurretAng = targetTurretAng-360.0;
	  }

	  //find current angular velocity in degrees/iteration (i think) (iknow now)
	  float currentTurretAngVel = IMU_get_gyro(2)*90.0/262.9639380722;

	  //find current angle also standard math in degrees
	  if(currentTurretAngVel>0.005||currentTurretAngVel<-0.005){//filter out noise from gyro
		  currentTurretAng = currentTurretAng + currentTurretAngVel; //proportional to ang position, not
		  if(currentTurretAng<0.0){
			  currentTurretAng = 360.0-currentTurretAng;
		  }else if(currentTurretAng>360.0){
			  currentTurretAng = currentTurretAng-360.0;
		  }
	  }

	  // UART_Printf(&huart1," %f %f\n",IMU_get_gyro(2),currentTurretAng);
	  setMotorRPM(Bus1,GM6020,5,-240*(currentTurretAngVel+1.0*targetTurretAngVel)+12*angSmallestDiff(targetTurretAng, currentTurretAng), turretRotation);

	  // setMotorRPM(Bus1, GM6020, 5, -1*CAL_getCH2(), turretRotation);

	  // Shooting Settings
      if (CAL_getS1() > 1 || CAL_getRMB() == 1) {
    	  setMotorRPM(Bus2, M3508, 1, -1*speed, flywheels);
          setMotorRPM(Bus2, M3508, 2, speed, flywheels);
      } else {
    	  setMotorRPM(Bus2, M3508, 1, 0, flywheels);
    	  setMotorRPM(Bus2, M3508, 2, 0, flywheels);
	  }

      // UART_Printf(&huart1, "RPM: %d, Amp: %d\r\n", getMotorRPM(Bus1, M2006, 1), getMotorCurrent(Bus1, M2006, 1)*816);

      float heatBufferFraction = 0;
      if (CAL_getHeatLimit() != 0) {
    	  heatBufferFraction = (float)(CAL_getBarrel1Heat())/(float)(CAL_getHeatLimit());
      }

      UART_Printf(&huart1, "BarrelHeat; %d, HeatLimit: %d, HeatFraction; %f\r\n", CAL_getBarrel1Heat(), CAL_getHeatLimit(), heatBufferFraction);

	  if ((   ((CAL_getS1() == 2) || (CAL_getLMB() == 1)) && (heatBufferFraction < 0.8)) && (getMotorRPM(Bus2, M3508, 2) > (speed-3000))) {
		  // fondlerAutoReverse (fondlerVars, 1, 1, -1, indexer, indexer2);
		  // setMotorRPM(Bus1, M2006, 1, 6000, indexer2);

		  // getMotorRPM(Bus1, M2006, 1);
		  // setMotorRPM(Bus1, M2006, 1, 6000, indexer);
		  cooldownCounter = 0;

		  switch (fondlerState) {
		  // Spin up State
		  case (0): {
			  setMotorRPM(Bus1, M2006, 1, 6000, indexer);
			  if ((getMotorRPM(Bus1, M2006, 1) > 5000)) {
				  spinupCounter = 0;
				  fondlerState = 1;
				  break;
			  }
			  if (spinupCounter >= 50) {
				  spinupCounter = 0;
				  fondlerState = 12; // Bad
				  break;
			  }
			  spinupCounter++;
			  break;
		  }
		  case (1): {
			  // UART_Printf(&huart1, "%d\r\n", calcRPM_PID(Bus1,M2006, 1, 6000, indexer));
			  setMotorRPM(Bus1, M2006, 1, 6000, indexer);
			  if (getMotorRPM(Bus1, M2006, 1) < 3) {
				  fondlerState = 12;
				  break;
			  }
			  break;
		  }
		  case (12): {
			  setMotorRPM(Bus1, M2006, 1, -12500, indexer);
			  rewindCounter++;
			  if (rewindCounter >= 40) {
				  fondlerState = 0;
				  rewindCounter = 0;
			  }
			  break;
		  }
		  case (24): {
			  setMotorRPM(Bus1, M2006, 1, -15000, indexer);
			  rewindCounter++;
			  if (rewindCounter >= 24) {
				  fondlerState = 0;
				  rewindCounter = 0;
			  }
			  break;
		  }
		  }

		  // UART_Printf(&huart1, "%d\r\n", fondlerState);

	  } else {
		  // fondlerAutoReverse (fondlerVars, 0, 1, -1, indexer, indexer2);
		  if (cooldownCounter < 50) {
			  setMotorRPM(Bus1, M2006, 1, -12500, indexer);
			  cooldownCounter++;
		  } else {
			  setMotorRPM(Bus1, M2006, 1, 0, indexer2);

		  }
		  fondlerState = 0;
		  // setMotorRPM(Bus1, M2006, 1, 0, indexer2);
	  }
	  // UART_Printf(&huart1, "RPM: %d, FondlerState: %d\r\n", getMotorRPM(Bus1, M2006, 1), fondlerState);

	  osDelay(1);
  }
  /* USER CODE END StartChassisTask */
}

void StartSentryAutonomy(void *argument)
{
  for(;;)
  {
    osDelay(1);
  }
}

void Error_Handler(void)
{
  __disable_irq();
  while (1)
  {
  }
}
